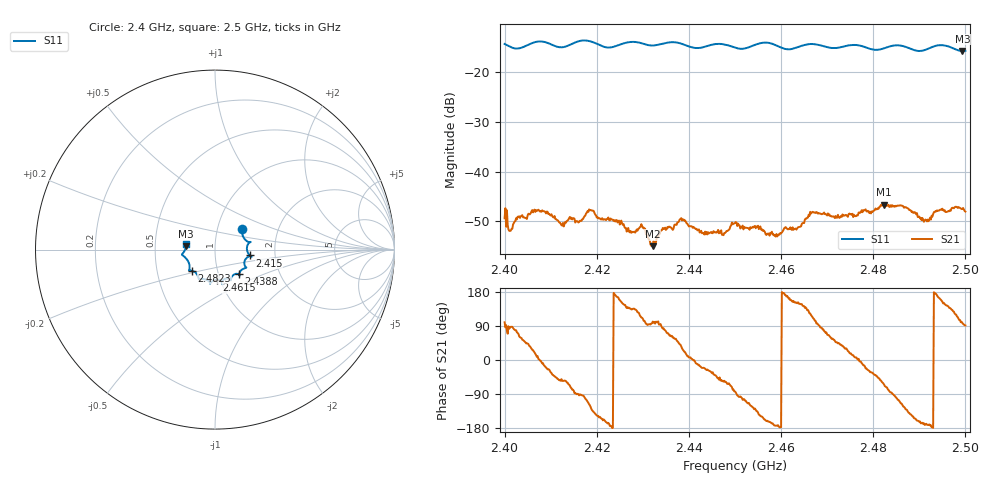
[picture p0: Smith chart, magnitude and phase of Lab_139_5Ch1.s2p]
# Hz S RI R 50
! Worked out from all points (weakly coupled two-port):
!   601 points, 2.4 GHz to 2.5 GHz, reference 50 ohm
!   highest |S21| = -46.62 dB at 2.4823 GHz (marker M1); lowest = -55.0 dB at 2.4322 GHz (marker M2)
!   lowest |S11| = -15.8 dB at 2.4993 GHz (marker M3), VSWR 1.39, Z = 36.1 + j1.29 ohm
!   |S11| at or under -10 dB: start of sweep to end of sweep
!   S12 and S22 are empty: the file has one direction only
!   S11 on the Smith chart (normalised r, x): 2.4 GHz: 1.32, +0.32; 2.415 GHz: 1.47, -0.10; 2.4388 GHz: 1.25, -0.35; 2.4615 GHz: 0.96, -0.34; 2.4823 GHz: 0.75, -0.18; 2.5 GHz: 0.72, +0.04
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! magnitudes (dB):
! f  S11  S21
! 2.4 GHz  -14.3  -49.4
! 2.4012 GHz  -14.9  -51.9
! 2.4068 GHz  -13.9  -47.7
! 2.4125 GHz  -15.0  -50.8
! 2.415 GHz  -14.2  -49.3
! 2.4167 GHz  -13.7  -49.9
! 2.4188 GHz  -13.9  -47.8
! 2.4275 GHz  -13.9  -52.3
! 2.43 GHz  -14.3  -51.3
! 2.4322 GHz  -14.6  -55.0
! 2.4333 GHz  -14.5  -53.2
! 2.4388 GHz  -14.4  -49.6
! 2.4435 GHz  -14.9  -52.0
! 2.45 GHz  -15.1  -50.3
! 2.4588 GHz  -14.6  -53.0
! 2.4615 GHz  -15.4  -51.6
! 2.4667 GHz  -14.3  -48.2
! 2.4823 GHz  -15.2  -46.6
! 2.4833 GHz  -14.9  -46.7
! 2.4915 GHz  -15.4  -49.8
! 2.4993 GHz  -15.8  -47.5
! 2.5 GHz  -15.7  -48.0
